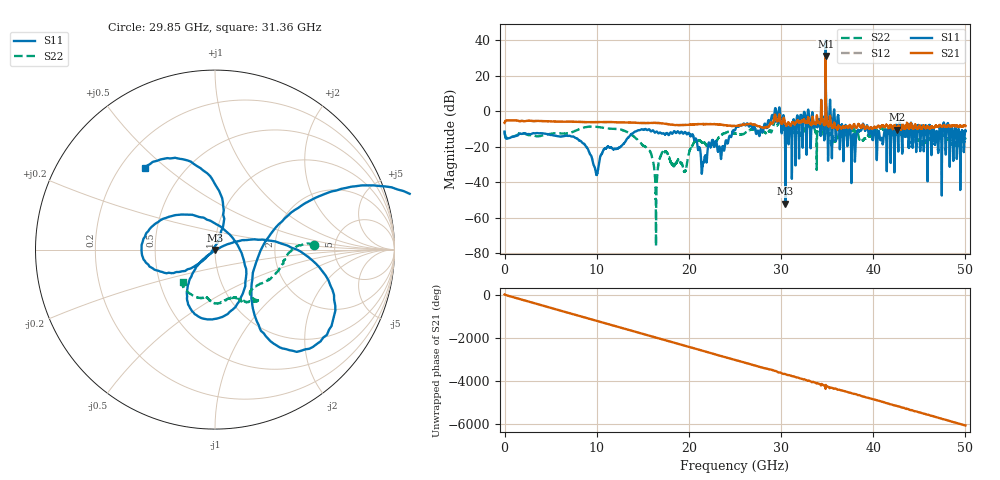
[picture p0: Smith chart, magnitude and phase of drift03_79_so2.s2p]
!Created with skrf (http://scikit-rf.org).
# Hz S RI R 50.0
!freq ReS11 ImS11 ReS21 ImS21 ReS12 ImS12 ReS22 ImS22
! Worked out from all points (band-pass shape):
!   10001 points, 300 kHz to 50 GHz, reference 50 ohm
!   highest |S21| = 31.20 dB at 34.85 GHz (marker M1); lowest = -10.3 dB at 42.56 GHz (marker M2)
!   |S21| within 3 dB of the highest: 34.84374 GHz to 34.84584 GHz (2.096 MHz wide, 0.00602 % of centre)
!   lowest |S11| = -51.9 dB at 30.47 GHz (marker M3), VSWR 1.01, Z = 50 - j0.25 ohm
!   |S11| at or under -10 dB: start of sweep to 15.23 GHz; 15.32 GHz to 25.05 GHz (9.737 GHz wide, 48.2 % of centre); 40.22 GHz to 41.61 GHz (1.391 GHz wide, 3.4 % of centre) (the widest 3 of 49)
!   |S22| runs from -76.0 to 22.4 dB; largest |S21 - S12| = 5.5
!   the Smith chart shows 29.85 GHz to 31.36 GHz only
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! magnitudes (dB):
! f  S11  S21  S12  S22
! 300 kHz  -11.4  -6.5  -6.4  -11.3
! 8.335 GHz  -17.1  -6.0  -6.0  -9.6
! 9.955 GHz  -35.4  -6.1  -6.1  -8.7
! 10.91 GHz  -21.0  -6.0  -6.0  -9.4
! 13.84 GHz  -12.5  -6.3  -6.3  -13.4
! 16.67 GHz  -12.3  -6.5  -6.5  -30.3
! 17.34 GHz  -12.8  -6.9  -6.9  -22.9
! 19.56 GHz  -11.6  -7.6  -7.6  -33.9
! 20.22 GHz  -13.9  -7.5  -7.5  -20.5
! 21.55 GHz  -28.9  -7.2  -7.2  -17.7
! 25 GHz  -10.6  -8.2  -8.2  -12.5
! 27.51 GHz  -11.0  -8.3  -8.3  -10.7
! 29.6 GHz  -5.5  -5.7  -5.9  -7.8
! 30.47 GHz  -51.9  -7.2  -7.2  -9.0
! 33.34 GHz  -3.8  -6.8  -6.7  -9.2
! 34.85 GHz  40.0  31.2  31.0  22.4
! 35.63 GHz  -6.5  -9.3  -9.1  -16.3
! 37.83 GHz  -12.9  -8.3  -8.3  -9.8
! 38.82 GHz  -8.2  -8.0  -8.0  -16.2
! 41.67 GHz  -9.3  -9.4  -9.3  -11.5
! 42.56 GHz  -8.3  -10.3  -10.5  -13.4
! 50 GHz  -10.9  -8.2  -8.3  -15.4
